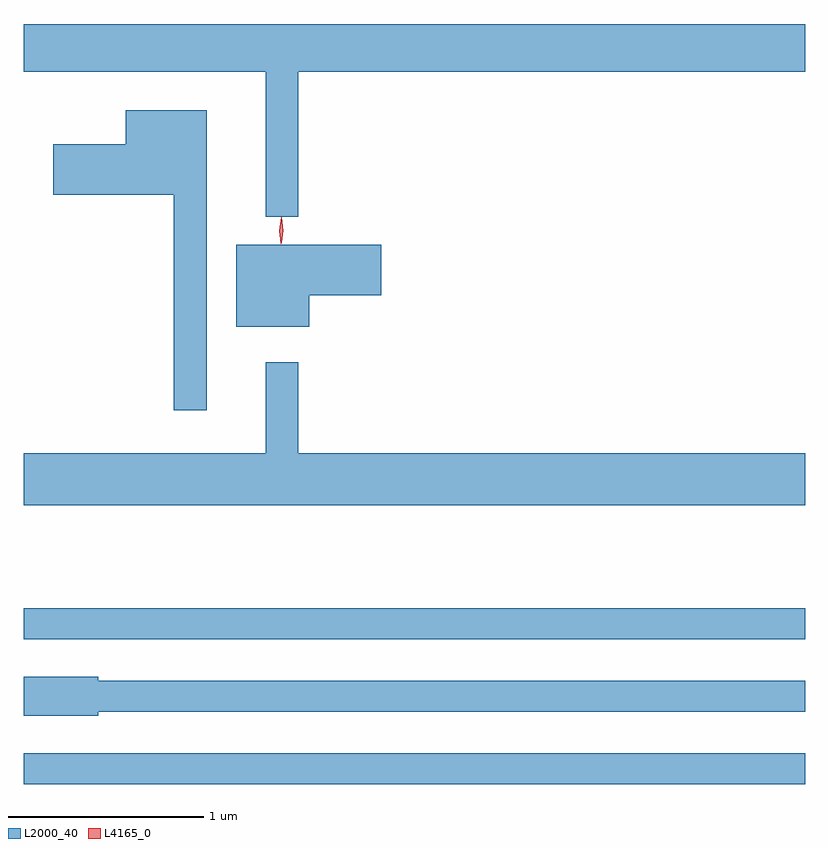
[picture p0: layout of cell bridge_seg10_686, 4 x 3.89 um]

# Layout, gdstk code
import gdstk
lib = gdstk.Library(unit=1e-6, precision=1e-09)
def R(c, l, rs):  # rectangles x0, y0, x1, y1
    for r in rs: c.add(gdstk.rectangle(r[:2], r[2:], *l))
def P(c, l, *ps):  # polygons
    for p in ps: c.add(gdstk.Polygon(p, *l))
L2000_40 = (2000, 40)
L4165_0 = (4165, 0)

bridge_seg10_686 = lib.new_cell('bridge_seg10_686')
R(bridge_seg10_686, L2000_40, [(1004.353,2141.351,1008.353,2141.509), (1004.353,2142.091,1008.353,2142.249)])
P(bridge_seg10_686, L2000_40, [(1005.759,2144.996),(1008.353,2144.996),(1008.353,2145.239),(1004.353,2145.239),(1004.353,2144.996),(1005.591,2144.996),(1005.591,2144.253),(1005.759,2144.253)],
  [(1005.289,2144.799),(1004.876,2144.799),(1004.876,2144.624),(1004.506,2144.624),(1004.506,2144.366),(1005.121,2144.366),(1005.121,2143.263),(1005.289,2143.263)],
  [(1005.814,2143.851),(1006.184,2143.851),(1006.184,2144.109),(1005.441,2144.109),(1005.441,2143.691),(1005.814,2143.691)],
  [(1008.353,2143.044),(1005.759,2143.044),(1005.759,2143.508),(1005.591,2143.508),(1005.591,2143.044),(1004.353,2143.044),(1004.353,2142.776),(1008.353,2142.776)],
  [(1004.734,2141.721),(1008.353,2141.721),(1008.353,2141.879),(1004.734,2141.879),(1004.734,2141.899),(1004.353,2141.899),(1004.353,2141.701),(1004.734,2141.701)])
P(bridge_seg10_686, L4165_0, [(1005.672,2144.12),(1005.672,2144.121),(1005.662,2144.184),(1005.672,2144.246),(1005.672,2144.247),(1005.673,2144.246),(1005.682,2144.184),(1005.673,2144.121)],
  [(1005.67,2144.114),(1005.662,2144.182),(1005.672,2144.25),(1005.672,2144.25),(1005.673,2144.25),(1005.681,2144.182),(1005.671,2144.114),(1005.671,2144.114)])

lib.write_gds('bridge_seg10_686.gds')
